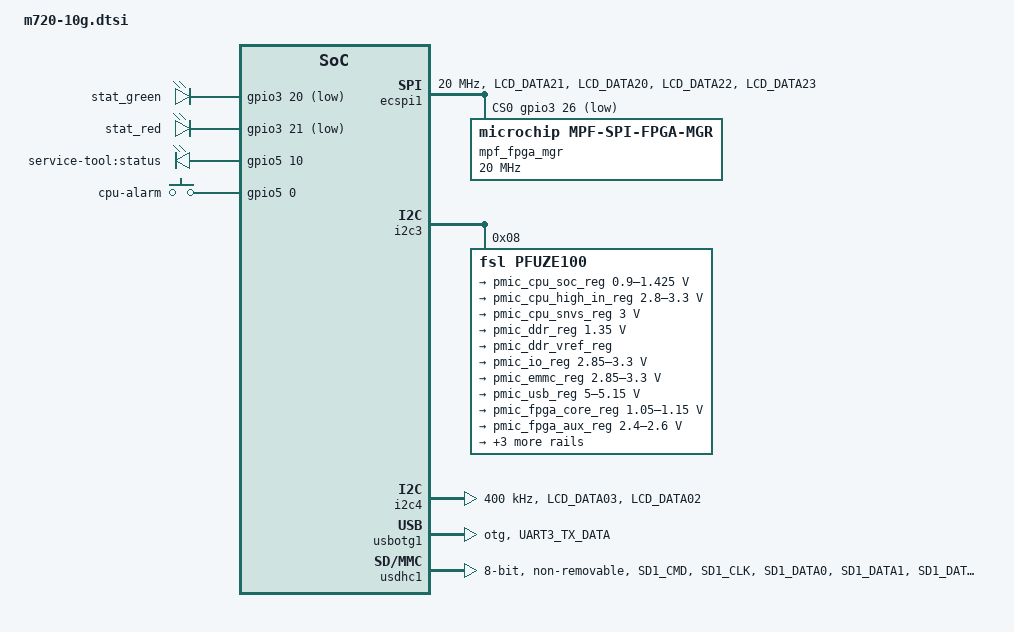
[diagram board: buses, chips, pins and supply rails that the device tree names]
/dts-v1/;

#include "m720.dtsi"

/ {
	leds {
		green_led {
			pinctrl-names = "default";
			pinctrl-0 = <&pinctrl_green_led>;
			label = "stat_green";
			linux,default-trigger = "heartbeat";
			gpios = <&gpio3 20 GPIO_ACTIVE_LOW>;
			default-state = "off";
		};

		red_led {
			pinctrl-names = "default";
			pinctrl-0 = <&pinctrl_red_led>;
			label = "stat_red";
			linux,default-trigger = "none";
			gpios = <&gpio3 21 GPIO_ACTIVE_LOW>;
			default-state = "off";
			panic-indicator;
		};

		service_led {
			pinctrl-names = "default";
			pinctrl-0 = <&pinctrl_service_led>;
			label = "service-tool:status";
			linux,default-trigger = "default-on";
			gpios = <&gpio5 10 GPIO_ACTIVE_HIGH>;
			default-state = "on";
		};
	};

	key {
		compatible = "gpio-keys";

		alarm {
			pinctrl-names = "default";
			pinctrl-0 = <&pinctrl_alarm>;
			label = "cpu-alarm";
			linux,code = <KEY_WAKEUP>;
			gpios = <&gpio5 0 GPIO_ACTIVE_HIGH>;
			wakeup-source;
		};
	};

	fpga_region0: fpga_region0 {
		#address-cells = <0x1>;
		#size-cells = <0x1>;
		compatible = "fpga-region";
		fpga-mgr = <&mpf_fpga_mgr>;
	};
};

&reg_arm {
	vin-supply = <&pmic_cpu_soc_reg>;
	regulator-allow-bypass;
};

&reg_soc {
	vin-supply = <&pmic_cpu_soc_reg>;
	regulator-allow-bypass;
};

&reg_3p0 {
	vin-supply = <&pmic_cpu_snvs_reg>;
	regulator-allow-bypass;
};

&ecspi1 {
	pinctrl-names = "default";
	pinctrl-0 = <&pinctrl_ecspi1>;
	clock-frequency = <20000000>;
	status = "okay";
	fsl,spi-num-chipselects = <2>;
	cs-gpios = <&gpio3 26 GPIO_ACTIVE_LOW>;

	mpf_fpga_mgr: fpga@0 {
		compatible = "microchip,mpf-spi-fpga-mgr";
		reg = <0>;
		spi-max-frequency = <20000000>;
	};
};

/* System bus */
&i2c3 {
	pfuze100@8 {
		compatible = "fsl,pfuze100";
		reg = <0x08>;

		regulators {
			/* 1V275_IMX_PMIC - test point P4 */
			pmic_cpu_soc_reg: sw1a {
				regulator-name = "pmic_cpu_soc_in";
				regulator-min-microvolt = <900000>;
				regulator-max-microvolt = <1425000>;
				regulator-boot-on;
				regulator-always-on;
			};

			/* CPU_HIGH_IN_3.3V_PMIC */
			pmic_cpu_high_in_reg: vldo3 {
				regulator-name = "pmic_cpu_high_in";
				regulator-min-microvolt = <2800000>;
				regulator-max-microvolt = <3300000>;
				regulator-boot-on;
				regulator-always-on;
			};

			/* CPU_SNVS_IN_3.3V_PMIC */
			pmic_cpu_snvs_reg: vsnvs {
				regulator-name = "pmic_cpu_snvs";
				regulator-min-microvolt = <3000000>;
				regulator-max-microvolt = <3000000>;
				regulator-boot-on;
				regulator-always-on;
			};

			/* 1V35_DDR_PMIC - test point P2 */
			pmic_ddr_reg: sw3 {
				regulator-name = "ddr_supply";
				regulator-min-microvolt = <1350000>;
				regulator-max-microvolt = <1350000>;
				regulator-boot-on;
				regulator-always-on;
			};

			/* VREF_DDR_PMIC - test point P1 */
			pmic_ddr_vref_reg: vrefddr {
				regulator-name = "ddr_ref";
				regulator-boot-on;
				regulator-always-on;
			};

			/* 3V3_IO */
			pmic_io_reg: v33 {
				regulator-name = "io_supply";
				regulator-min-microvolt = <2850000>;
				regulator-max-microvolt = <3300000>;
				regulator-boot-on;
				regulator-always-on;
			};

			/* 3V3_EMMC_PMIC */
			pmic_emmc_reg: vccsd {
				regulator-name = "emmc_supply";
				regulator-min-microvolt = <2850000>;
				regulator-max-microvolt = <3300000>;
				regulator-always-on;
			};

			/* 5V_PMIC - test point P3 */
			pmic_usb_reg: swbst {
				regulator-name = "cpu_usb";
				regulator-min-microvolt = <5000000>;
				regulator-max-microvolt = <5150000>;
				regulator-boot-on;
				/* CPU USB VBUS line does not connected to VBUS
				 * line on SSFP USB OTG port. So USB OTG can't
				 * be supplied from HOST in device mode. This
				 * regulator provides 5V supply for CPU VBUS and
				 * has to be always on to prevent USB OTG
				 * glitches. */
				regulator-always-on;
			};

			/* 1V1_FPGA - test point P7 */
			pmic_fpga_core_reg: sw1b {
				regulator-name = "fpga_vcc_vcca";
				regulator-min-microvolt = <1050000>;
				regulator-max-microvolt = <1150000>;
				regulator-boot-on;
			};

			/* 2V5_FPGA - test point P10 */
			pmic_fpga_aux_reg: vldo1 {
				regulator-name = "fpga_vccaux_vccauxa";
				regulator-min-microvolt = <2400000>;
				regulator-max-microvolt = <2600000>;
				regulator-boot-on;
				vin-supply = <&pmic_laser_reg>;
			};

			/* 1V1_TRA - test point P6 */
			pmic_fpga_tra_reg: vldo2 {
				regulator-name = "fpga_vcch";
				regulator-min-microvolt = <1050000>;
				regulator-max-microvolt = <1150000>;
				regulator-boot-on;
				vin-supply = <&pmic_laser_reg>;
			};

			/* 3V3_SFP - test point P11 */
			pmic_laser_reg: sw2 {
				regulator-name = "laser_driver_supply";
				regulator-min-microvolt = <1275000>;
				regulator-max-microvolt = <1275000>;
				regulator-boot-on;
				regulator-always-on;
			};

			/* Not connected */
			vldo4 {
				regulator-name = "not_connected";
				regulator-min-microvolt = <1800000>;
				regulator-max-microvolt = <3300000>;
			};
		};
	};
};

	/* NT25L90 laser driver bus */
&i2c4 {
	clock-frequency = <400000>;
	pinctrl-names = "default";
	pinctrl-0 = <&pinctrl_i2c4>;
	status = "okay";
};

&iomuxc {
	stcmtk-smart-sfp {
		pinctrl_hog_1: hoggrp-1 {
			fsl,pins = <
				/* ???: Not used by drivers, only for exporting to userspace */
				MX6UL_PAD_GPIO1_IO02__GPIO1_IO02 	0x000010B0 /* SDMA INT */
				/*MX6UL_PAD_GPIO1_IO02__SDMA_EXT_EVENT00  0x000010B0*/ /* SDMA INT */
			>;
		};

		pinctrl_net1: net1grp {
			fsl,pins = <
				MX6UL_PAD_GPIO1_IO03__GPIO1_IO03	0x000010B0 /* FPGA_INT 0 */
				MX6UL_PAD_LCD_DATA13__GPIO3_IO18	0x000010B0 /* FPGA_INT 1 */
				MX6UL_PAD_GPIO1_IO05__GPIO1_IO05	0x000010B0 /* FPGA_INT 2 */
			>;
		};

		pinctrl_net2: net2grp {
			fsl,pins = <
				MX6UL_PAD_UART2_RTS_B__GPIO1_IO23	0x000010B0 /* FPGA_INT 3 */
				MX6UL_PAD_UART2_CTS_B__GPIO1_IO22	0x000010B0 /* FPGA_INT 4 */
				MX6UL_PAD_GPIO1_IO08__GPIO1_IO08	0x000010B0 /* FPGA_INT 5 */
			>;
		};

		pinctrl_green_led: led1grp {
			fsl,pins = <
				MX6UL_PAD_LCD_DATA15__GPIO3_IO20	0x000010B0
			>;
		};

		pinctrl_red_led: led2grp {
			fsl,pins = <
				MX6UL_PAD_LCD_DATA16__GPIO3_IO21	0x000010B0
			>;
		};

		pinctrl_ecspi1: ecspi1grp {
			fsl,pins = <
				MX6UL_PAD_LCD_DATA21__GPIO3_IO26	0x000010A8
				MX6UL_PAD_LCD_DATA20__ECSPI1_SCLK	0x000010A8
				MX6UL_PAD_LCD_DATA22__ECSPI1_MOSI	0x000010A8
				MX6UL_PAD_LCD_DATA23__ECSPI1_MISO	0x000010A8
			>;
		};

		pinctrl_i2c1: i2c1grp {
			fsl,pins = <
				MX6UL_PAD_UART4_RX_DATA__I2C1_SDA	0x4001B8B1
				MX6UL_PAD_UART4_TX_DATA__I2C1_SCL	0x4001B8B1
			>;
		};

		pinctrl_i2c3: i2c3grp {
			fsl,pins = <
				MX6UL_PAD_LCD_DATA01__I2C3_SCL		0x4001B8B1
				MX6UL_PAD_LCD_DATA00__I2C3_SDA		0x4001B8B1
			>;
		};

		pinctrl_i2c4: i2c4grp {
			fsl,pins = <
				MX6UL_PAD_LCD_DATA03__I2C4_SCL		0x4001B8B1
				MX6UL_PAD_LCD_DATA02__I2C4_SDA		0x4001B8B1
			>;
		};

		pinctrl_uart1: uart1grp {
			fsl,pins = <
				MX6UL_PAD_UART1_RX_DATA__UART1_DCE_RX	0x000010B0
				MX6UL_PAD_UART1_TX_DATA__UART1_DCE_TX	0x000010B0
			>;
		};

		pinctrl_emmc: emmcgrp {
			fsl,pins = <
				MX6UL_PAD_SD1_CMD__USDHC1_CMD		0x17059
				MX6UL_PAD_SD1_CLK__USDHC1_CLK		0x10059
				MX6UL_PAD_SD1_DATA0__USDHC1_DATA0	0x17059
				MX6UL_PAD_SD1_DATA1__USDHC1_DATA1	0x17059
				MX6UL_PAD_SD1_DATA2__USDHC1_DATA2	0x17059
				MX6UL_PAD_SD1_DATA3__USDHC1_DATA3	0x17059
				MX6UL_PAD_NAND_READY_B__USDHC1_DATA4	0x17059
				MX6UL_PAD_NAND_CE0_B__USDHC1_DATA5	0x17059
				MX6UL_PAD_NAND_CE1_B__USDHC1_DATA6	0x17059
				MX6UL_PAD_NAND_CLE__USDHC1_DATA7	0x17059
			>;
		};

		pinctrl_emmc_100: emmc_100grp {
			fsl,pins = <
				MX6UL_PAD_SD1_CMD__USDHC1_CMD		0x170b9
				MX6UL_PAD_SD1_CLK__USDHC1_CLK		0x100b9
				MX6UL_PAD_SD1_DATA0__USDHC1_DATA0	0x170b9
				MX6UL_PAD_SD1_DATA1__USDHC1_DATA1	0x170b9
				MX6UL_PAD_SD1_DATA2__USDHC1_DATA2	0x170b9
				MX6UL_PAD_SD1_DATA3__USDHC1_DATA3	0x170b9
				MX6UL_PAD_NAND_READY_B__USDHC1_DATA4	0x170b9
				MX6UL_PAD_NAND_CE0_B__USDHC1_DATA5	0x170b9
				MX6UL_PAD_NAND_CE1_B__USDHC1_DATA6	0x170b9
				MX6UL_PAD_NAND_CLE__USDHC1_DATA7	0x170b9
			>;
		};

		pinctrl_emmc_200: emmc_200grp {
			fsl,pins = <
				MX6UL_PAD_SD1_CMD__USDHC1_CMD		0x170f9
				MX6UL_PAD_SD1_CLK__USDHC1_CLK		0x100f9
				MX6UL_PAD_SD1_DATA0__USDHC1_DATA0	0x170f9
				MX6UL_PAD_SD1_DATA1__USDHC1_DATA1	0x170f9
				MX6UL_PAD_SD1_DATA2__USDHC1_DATA2	0x170f9
				MX6UL_PAD_SD1_DATA3__USDHC1_DATA3	0x170f9
				MX6UL_PAD_NAND_READY_B__USDHC1_DATA4	0x170f9
				MX6UL_PAD_NAND_CE0_B__USDHC1_DATA5	0x170f9
				MX6UL_PAD_NAND_CE1_B__USDHC1_DATA6	0x170f9
				MX6UL_PAD_NAND_CLE__USDHC1_DATA7	0x170f9
			>;
		};

		pinctrl_emmc_rst: emmc_rst_grp {
			fsl,pins = <
				MX6UL_PAD_GPIO1_IO04__USDHC1_RESET_B	0x17059
			/*	MX6UL_PAD_GPIO1_IO04__GPIO1_IO4		0x17059 */
			>;
		};

		pinctrl_weim: weimgrp {
			fsl,pins = <
				MX6UL_PAD_CSI_DATA00__EIM_AD00		0x000010E9
				MX6UL_PAD_CSI_DATA01__EIM_AD01		0x000010E9
				MX6UL_PAD_CSI_DATA02__EIM_AD02		0x000010E9
				MX6UL_PAD_CSI_DATA03__EIM_AD03		0x000010E9
				MX6UL_PAD_CSI_DATA04__EIM_AD04		0x000010E9
				MX6UL_PAD_CSI_DATA05__EIM_AD05		0x000010E9
				MX6UL_PAD_CSI_DATA06__EIM_AD06		0x000010E9
				MX6UL_PAD_CSI_DATA07__EIM_AD07		0x000010E9
				MX6UL_PAD_CSI_HSYNC__EIM_LBA_B		0x000010E9
				MX6UL_PAD_CSI_MCLK__EIM_CS0_B		0x000010E9
				MX6UL_PAD_CSI_PIXCLK__EIM_OE		0x000010E9
				MX6UL_PAD_CSI_VSYNC__EIM_RW		0x000010E9
				MX6UL_PAD_NAND_DATA00__EIM_AD08		0x000010E9
				MX6UL_PAD_NAND_DATA01__EIM_AD09		0x000010E9
				MX6UL_PAD_NAND_DATA02__EIM_AD10		0x000010E9
				MX6UL_PAD_NAND_DATA03__EIM_AD11		0x000010E9
				MX6UL_PAD_NAND_DATA04__EIM_AD12		0x000010E9
				MX6UL_PAD_NAND_DATA05__EIM_AD13		0x000010E9
				MX6UL_PAD_NAND_DATA06__EIM_AD14		0x000010E9
				MX6UL_PAD_NAND_DATA07__EIM_AD15		0x000010E9
				MX6UL_PAD_NAND_DQS__EIM_WAIT		0x000010E9
				MX6UL_PAD_NAND_WP_B__EIM_BCLK		0x000010E9
			>;
		};

		pinctrl_usbotg1: usbotg1grp {
			fsl,pins = <
				MX6UL_PAD_UART3_TX_DATA__ANATOP_OTG1_ID 0x00017059
			>;
		};

		pinctrl_userswitch: userswitchgrp {
			fsl,pins = <
				MX6UL_PAD_LCD_DATA10__GPIO3_IO15	0x000010B0
				MX6UL_PAD_LCD_DATA11__GPIO3_IO16	0x000010B0
			>;
		};
	};
};

&iomuxc_snvs {
	stcmtk-smart-sfp-snvs {
		pinctrl_service_led: snvs_service_led_grp {
			fsl,pins = <
				MX6UL_PAD_BOOT_MODE0__GPIO5_IO10	0x000128A0
			>;

		};

		pinctrl_alarm: snvs_alarm_grp {
			fsl,pins = <
				MX6UL_PAD_SNVS_TAMPER0__GPIO5_IO00	0x000110A0
			>;

		};
	};
};

&usbotg1 {
	pinctrl-names = "default";
	pinctrl-0 = <&pinctrl_usbotg1>;
	/* CPU USB VBUS line does not connected to VBUS line on SSFP USB OTG
	 * port. So "vbus-supply" line can't supply external USB device in host
	 * mode and USB driver doesn't have to handle PMIC VBUS supplier. */
	/* vbus-supply = <&pmic_usb_reg>; */
	dr_mode = "otg";
	srp-disable;
	hnp-disable;
	adp-disable;
	disable-overcurrent;
	status = "okay";
};

&usdhc1 {
	pinctrl-names = "default", "state_100mhz", "state_200mhz";
	pinctrl-0 = <&pinctrl_emmc &pinctrl_emmc_rst>;
	pinctrl-1 = <&pinctrl_emmc_100 &pinctrl_emmc_rst>;
	pinctrl-2 = <&pinctrl_emmc_200 &pinctrl_emmc_rst>;
	bus-width = <8>;
	no-1-8-v;
	non-removable;
	status = "okay";
};
